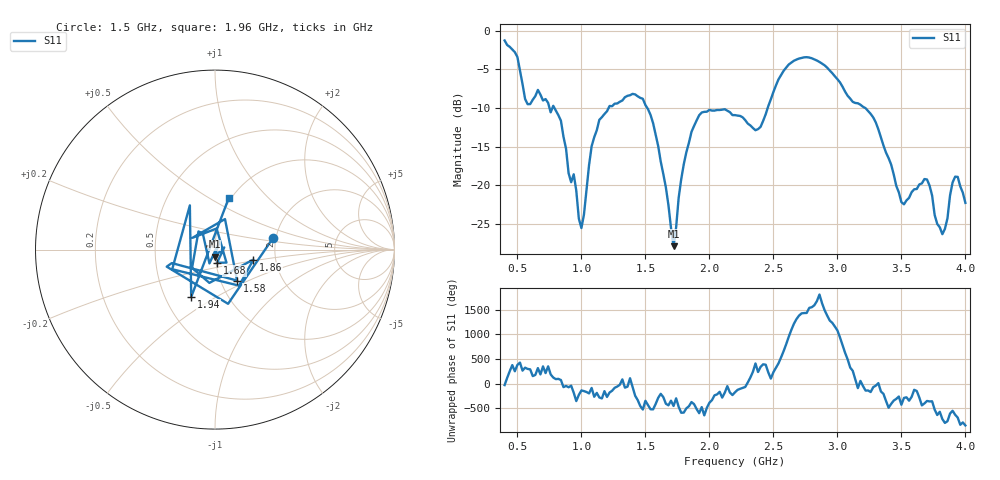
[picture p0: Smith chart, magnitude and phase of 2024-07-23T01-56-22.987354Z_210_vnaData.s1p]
!Created with skrf (http://scikit-rf.org).
# Hz S RI R 50.0
!freq ReS11 ImS11
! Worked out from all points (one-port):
!   181 points, 400 MHz to 4 GHz, reference 50 ohm
!   lowest |S11| = -27.9 dB at 1.72 GHz (marker M1), VSWR 1.08, Z = 49.6 - j3.99 ohm
!   |S11| at or under -10 dB: 788.8 MHz to 1.213 GHz (423.8 MHz wide, 42.4 % of centre); 1.514 GHz to 2.456 GHz (941.3 MHz wide, 47.4 % of centre); 3.217 GHz to end of sweep (the widest 3 of 4)
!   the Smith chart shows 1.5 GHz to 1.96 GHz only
!   S11 on the Smith chart (normalised r, x): 1.5 GHz: 1.93, +0.28; 1.58 GHz: 1.20, -0.43; 1.68 GHz: 1.01, -0.15; 1.86 GHz: 1.53, -0.18; 1.94 GHz: 0.67, -0.39; 1.96 GHz: 0.97, +0.62
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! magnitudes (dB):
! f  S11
! 400 MHz  -1.3
! 500 MHz  -3.4
! 580 MHz  -9.5
! 660 MHz  -7.7
! 860 MHz  -13.7
! 1 GHz  -25.6
! 1.08 GHz  -15.0
! 1.14 GHz  -11.5
! 1.3 GHz  -9.2
! 1.5 GHz  -9.6
! 1.58 GHz  -13.5
! 1.68 GHz  -22.6
! 1.72 GHz  -27.9
! 1.76 GHz  -21.6
! 1.86 GHz  -13.1
! 1.94 GHz  -10.6
! 1.96 GHz  -10.5
! 2.2 GHz  -10.9
! 2.4 GHz  -12.5
! 2.66 GHz  -3.9
! 3.1 GHz  -8.8
! 3.28 GHz  -11.2
! 3.5 GHz  -22.2
! 3.56 GHz  -21.6
! 3.7 GHz  -19.3
! 3.82 GHz  -26.3
! 3.92 GHz  -18.9
! 4 GHz  -22.3
